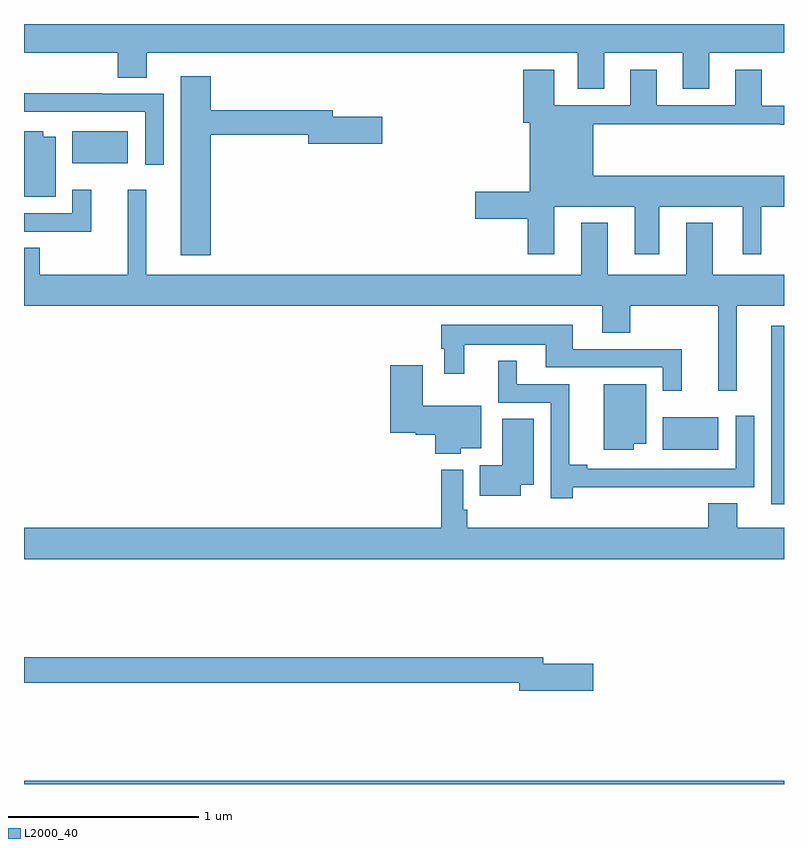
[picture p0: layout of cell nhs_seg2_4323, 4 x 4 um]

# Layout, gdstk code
import gdstk
lib = gdstk.Library(unit=1e-6, precision=1e-09)
def R(c, l, rs):  # rectangles x0, y0, x1, y1
    for r in rs: c.add(gdstk.rectangle(r[:2], r[2:], *l))
def P(c, l, *ps):  # polygons
    for p in ps: c.add(gdstk.Polygon(p, *l))
L2000_40 = (2000, 40)

nhs_seg2_4323 = lib.new_cell('nhs_seg2_4323')
R(nhs_seg2_4323, L2000_40, [(345,631.8,349,631.816), (348.932,633.273,349,634.213), (348.362,633.56,348.655,633.73), (345.254,635.066,345.547,635.236)])
P(nhs_seg2_4323, L2000_40, [(345,635.648),(345.494,635.648),(345.494,635.518),(345.646,635.518),(345.646,635.648),(347.915,635.648),(347.915,635.458),(348.055,635.458),(348.055,635.648),(348.467,635.648),(348.467,635.458),(348.607,635.458),(348.607,635.648),(349,635.648),(349,635.8),(345,635.8)],
  [(347.791,634.838),(348.215,634.838),(348.215,634.587),(348.343,634.587),(348.343,634.838),(348.782,634.838),(348.782,634.587),(348.88,634.587),(348.88,634.838),(349,634.838),(349,635.002),(347.995,635.002),(347.995,635.272),(348.979,635.272),(348.979,635.27),(349,635.27),(349,635.37),(348.883,635.37),(348.883,635.56),(348.743,635.56),(348.743,635.373),(348.331,635.373),(348.331,635.56),(348.191,635.56),(348.191,635.373),(347.791,635.373),(347.791,635.56),(347.627,635.56),(347.627,635.28),(347.663,635.28),(347.663,634.916),(347.376,634.916),(347.376,634.774),(347.651,634.774),(347.651,634.587),(347.791,634.587)],
  [(345.983,635.218),(346.496,635.218),(346.496,635.171),(346.885,635.171),(346.885,635.313),(346.624,635.313),(346.624,635.347),(345.983,635.347),(345.983,635.524),(345.824,635.524),(345.824,634.584),(345.983,634.584)],
  [(345.735,635.433),(345.41,635.433),(345.41,635.435),(345,635.435),(345,635.337),(345.639,635.337),(345.639,635.058),(345.735,635.058)],
  [(345.166,635.206),(345.1,635.206),(345.1,635.236),(345,635.236),(345,634.892),(345.166,634.892)],
  [(345.353,634.927),(345.255,634.927),(345.255,634.803),(345,634.803),(345,634.707),(345.353,634.707)],
  [(347.933,634.753),(347.933,634.48),(345.644,634.48),(345.644,634.927),(345.545,634.927),(345.545,634.48),(345.084,634.48),(345.084,634.622),(345,634.622),(345,634.316),(348.044,634.316),(348.044,634.174),(348.192,634.174),(348.192,634.316),(348.653,634.316),(348.653,633.87),(348.752,633.87),(348.752,634.316),(349,634.316),(349,634.48),(348.625,634.48),(348.625,634.753),(348.485,634.753),(348.485,634.48),(348.073,634.48),(348.073,634.753)],
  [(348.461,634.089),(347.887,634.089),(347.887,634.216),(347.196,634.216),(347.196,634.09),(347.213,634.09),(347.213,633.96),(347.317,633.96),(347.317,634.112),(347.747,634.112),(347.747,633.993),(348.363,633.993),(348.363,633.87),(348.461,633.87)],
  [(347.888,633.362),(348.518,633.362),(348.518,633.363),(348.843,633.363),(348.843,633.739),(348.747,633.739),(348.747,633.459),(347.965,633.459),(347.965,633.479),(347.87,633.479),(347.87,633.903),(347.593,633.903),(347.593,634.027),(347.495,634.027),(347.495,633.807),(347.772,633.807),(347.772,633.303),(347.888,633.303)],
  [(347.298,633.566),(347.407,633.566),(347.407,633.79),(347.098,633.79),(347.098,634.003),(346.928,634.003),(346.928,633.65),(347.063,633.65),(347.063,633.638),(347.165,633.638),(347.165,633.539),(347.298,633.539)],
  [(348.208,633.59),(348.274,633.59),(348.274,633.904),(348.05,633.904),(348.05,633.56),(348.208,633.56)],
  [(347.614,633.374),(347.683,633.374),(347.683,633.722),(347.516,633.722),(347.516,633.478),(347.398,633.478),(347.398,633.317),(347.614,633.317)],
  [(349,633.148),(348.754,633.148),(348.754,633.278),(348.602,633.278),(348.602,633.148),(347.333,633.148),(347.333,633.244),(347.313,633.244),(347.313,633.454),(347.197,633.454),(347.197,633.148),(345,633.148),(345,632.984),(349,632.984)],
  [(347.995,632.432),(347.734,632.432),(347.734,632.468),(345,632.468),(345,632.332),(347.606,632.332),(347.606,632.29),(347.995,632.29)])

lib.write_gds('nhs_seg2_4323.gds')
